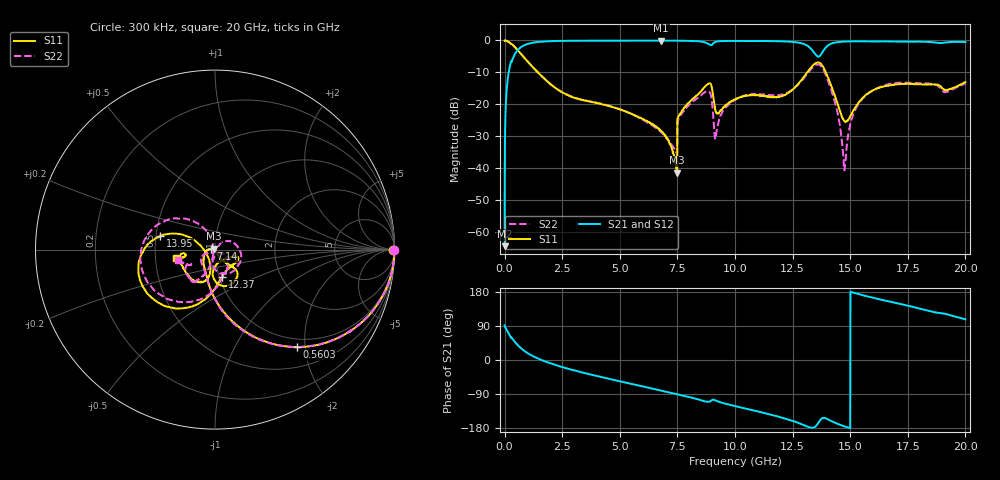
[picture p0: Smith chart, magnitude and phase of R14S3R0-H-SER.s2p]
!{R14S3R0}
!Johanson Technology Inc.
!www.johansontechnology.com
!Test Board Conditions:
!Substrate Type  RO4350B
!Substrate Thickness  20 mil
!Substrate Dk  3.66
!TL Type: GCPW
!TL Trace Width  36 mil
!TL Gap  12 mil
!Electrode orientation  Horizontal
!DUT TOPOLOGY	SERIES
!Mounting Pad LxW  26x36 mil
! Created Wed Nov 25 17:33:21 2020
! 2 Port Network Data from SP1.SP block
! freq  magS11  angS11  magS21  angS21  magS12  angS12  magS22  angS22
# khz S ma R 50
! decimated to every 10th point (10 MHz spacing) of the original 1 MHz Johanson file; values unchanged
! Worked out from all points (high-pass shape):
!   2001 points, 300 kHz to 20 GHz, reference 50 ohm
!   highest |S21| = -0.05 dB at 6.79 GHz (marker M1); lowest = -64.5 dB at 300 kHz (marker M2)
!   |S21| within 3 dB of the highest: 566.9 MHz to 13.35 GHz (12.78 GHz wide, 184 % of centre); 13.85 GHz to end of sweep
!   lowest |S11| = -41.5 dB at 7.49 GHz (marker M3), VSWR 1.02, Z = 49.3 + j0.502 ohm
!   |S11| at or under -10 dB: 1.439 GHz to 13.14 GHz (11.7 GHz wide, 161 % of centre); 13.94 GHz to end of sweep
!   |S22| runs from -40.7 to 0.0 dB; largest |S21 - S12| = 0.016
!   S11 on the Smith chart (normalised r, x): 300 kHz: open; 560.3 MHz: 0.84, -1.84; 7.14 GHz: 0.95, +0.01; 12.37 GHz: 1.03, -0.32; 13.95 GHz: 0.53, +0.09; 20 GHz: 0.64, -0.06
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300  0.9919 -0.2  0.0005967 91.5  0.0006058 89.6  0.9974 -0.1
140300  0.9655 -16.2  0.2542 73.7  0.2555 73.6  0.9662 -16.1
560300  0.7099 -49.8  0.6994 39.8  0.7 39.9  0.7101 -49.9
1460300  0.3104 -86.1  0.9466 3.4  0.9464 3.4  0.3119 -86.6
3340300  0.1175 -119.7  0.9894 -32.4  0.9892 -32.4  0.1185 -123.5
6670300  0.04214 -177.3  0.9929 -78.9  0.9932 -78.9  0.04018 -152.2
6790300  0.03811 179.6  0.9942 -80.6  0.9936 -80.5  0.03689 -150.7
7140300  0.02511 170.5  0.9923 -85.4  0.9932 -85.4  0.02673 -142.3
7390300  0.01344 159.2  0.993 -88.9  0.9917 -88.9  0.0187 -123.0
7490300  0.008444 143.0  0.992 -90.3  0.9932 -90.3  0.01735 -108.4
7600300  0.0691 -55.3  0.9888 -91.9  0.9895 -91.8  0.06343 44.4
8790300  0.2018 -55.2  0.9038 -110.2  0.9037 -110.1  0.156 -35.0
9180300  0.0737 -74.7  0.9568 -107.5  0.9592 -107.5  0.03304 -39.8
1.00003e7  0.1199 -18.2  0.9817 -121.6  0.9817 -121.7  0.1172 -52.3
1.23703e7  0.1561 -75.2  0.9556 -158.0  0.9599 -157.9  0.1591 -74.9
1.33403e7  0.3937 -123.3  0.7111 -178.8  0.7147 -179.0  0.3687 -129.8
1.39503e7  0.3139 166.0  0.786 -154.1  0.7794 -154.4  0.2818 141.7
1.44303e7  0.1077 158.0  0.9391 -167.9  0.9389 -167.9  0.08007 111.4
1.47503e7  0.05447 -161.7  0.9608 -175.1  0.96 -175.1  0.0092 -173.4
1.53303e7  0.1017 -104.5  0.9693 174.5  0.9706 174.4  0.09726 -107.6
1.66703e7  0.1947 -113.4  0.9632 154.7  0.9587 154.6  0.207 -121.3
2e7  0.2225 -168.1  0.9447 107.4  0.9453 107.6  0.2139 -164.9
